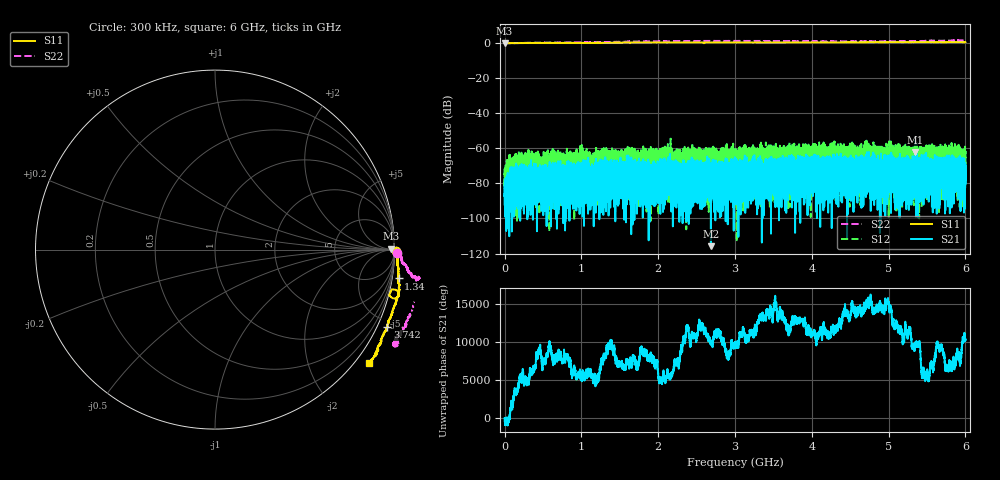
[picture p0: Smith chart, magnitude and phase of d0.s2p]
!Agilent Technologies,N5230C,SG49000117,A.08.50.07
!Agilent N5230C: A.08.50.07
!Date: Thursday, May 16, 2024 17:52:24
!Correction: S11(Full 2 Port(1,2))
!S21(Full 2 Port(1,2))
!S12(Full 2 Port(1,2))
!S22(Full 2 Port(1,2))
!S2P File: Measurements: S11, S21, S12, S22:
# Hz S  MA  R 50
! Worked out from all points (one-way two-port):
!   20001 points, 300 kHz to 6 GHz, reference 50 ohm
!   highest |S21| = -61.97 dB at 5.348 GHz (marker M1); lowest = -115.8 dB at 2.686 GHz (marker M2)
!   lowest |S11| = -0.2 dB at 600 kHz (marker M3), VSWR 111.81, Z = 5.12e+03 + j1.55e+03 ohm
!   |S11| at or under -10 dB: nowhere
!   |S22| runs from -0.3 to 1.6 dB; largest |S21 - S12| = 0.0021
!   S11 on the Smith chart (normalised r, x): 300 kHz: open; 1.34 GHz: -3, -12; 3.742 GHz: -0.58, -4.61; 6 GHz: -0.35, -3.01
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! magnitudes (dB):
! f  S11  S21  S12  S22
! 300 kHz  0.1  -77.8  -72.2  0.1
! 600 kHz  -0.2  -80.8  -71.6  -0.3
! 205.5 MHz  0.1  -69.9  -74.0  0.1
! 933.9 MHz  0.2  -80.0  -70.2  0.4
! 1 GHz  0.2  -73.2  -69.9  0.5
! 1.149 GHz  0.2  -74.1  -70.4  0.6
! 1.34 GHz  0.3  -74.3  -65.1  0.6
! 2 GHz  0.4  -79.5  -71.9  1.1
! 2.139 GHz  0.4  -74.0  -78.3  1.2
! 2.289 GHz  0.4  -72.7  -67.9  1.2
! 2.686 GHz  0.4  -115.8  -70.5  1.3
! 3 GHz  0.4  -76.4  -60.8  1.3
! 3.742 GHz  0.4  -68.2  -80.1  1.2
! 4 GHz  0.4  -67.2  -74.6  1.2
! 4.313 GHz  0.5  -73.3  -62.8  1.1
! 4.938 GHz  0.6  -86.8  -64.2  1.1
! 5 GHz  0.6  -68.7  -61.0  1.1
! 5.244 GHz  0.6  -71.9  -69.2  1.2
! 5.348 GHz  0.6  -62.0  -58.4  1.2
! 5.861 GHz  0.6  -83.1  -61.8  1.5
! 5.964 GHz  0.6  -77.4  -63.1  1.5
! 6 GHz  0.6  -73.0  -61.3  1.5
